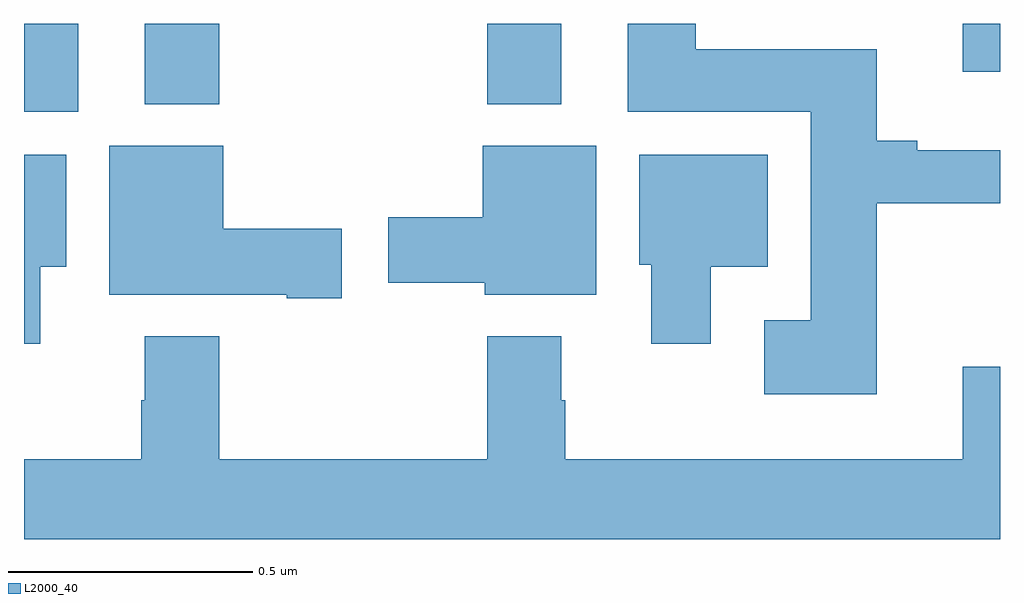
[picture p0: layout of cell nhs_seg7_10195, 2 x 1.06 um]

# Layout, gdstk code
import gdstk
lib = gdstk.Library(unit=1e-6, precision=1e-09)
def R(c, l, rs):  # rectangles x0, y0, x1, y1
    for r in rs: c.add(gdstk.rectangle(r[:2], r[2:], *l))
def P(c, l, *ps):  # polygons
    for p in ps: c.add(gdstk.Polygon(p, *l))
L2000_40 = (2000, 40)

nhs_seg7_10195 = lib.new_cell('nhs_seg7_10195')
R(nhs_seg7_10195, L2000_40, [(247,1006.82,247.111,1007), (247.247,1006.835,247.4,1007), (247.949,1006.835,248.101,1007), (248.924,1006.902,249,1007)])
P(nhs_seg7_10195, L2000_40, [(248.747,1006.632),(249,1006.632),(249,1006.741),(248.83,1006.741),(248.83,1006.76),(248.747,1006.76),(248.747,1006.948),(248.377,1006.948),(248.377,1007),(248.237,1007),(248.237,1006.82),(248.612,1006.82),(248.612,1006.393),(248.517,1006.393),(248.517,1006.241),(248.747,1006.241)],
  [(248.173,1006.75),(247.94,1006.75),(247.94,1006.604),(247.746,1006.604),(247.746,1006.469),(247.944,1006.469),(247.944,1006.445),(248.173,1006.445)],
  [(247.651,1006.58),(247.408,1006.58),(247.408,1006.75),(247.175,1006.75),(247.175,1006.445),(247.538,1006.445),(247.538,1006.438),(247.651,1006.438)],
  [(247.033,1006.502),(247.087,1006.502),(247.087,1006.732),(247,1006.732),(247,1006.344),(247.033,1006.344)],
  [(248.407,1006.502),(248.524,1006.502),(248.524,1006.732),(248.261,1006.732),(248.261,1006.506),(248.285,1006.506),(248.285,1006.344),(248.407,1006.344)],
  [(249,1006.297),(248.924,1006.297),(248.924,1006.108),(248.109,1006.108),(248.109,1006.229),(248.101,1006.229),(248.101,1006.36),(247.949,1006.36),(247.949,1006.108),(247.4,1006.108),(247.4,1006.36),(247.247,1006.36),(247.247,1006.229),(247.24,1006.229),(247.24,1006.108),(247,1006.108),(247,1005.944),(249,1005.944)])

lib.write_gds('nhs_seg7_10195.gds')
